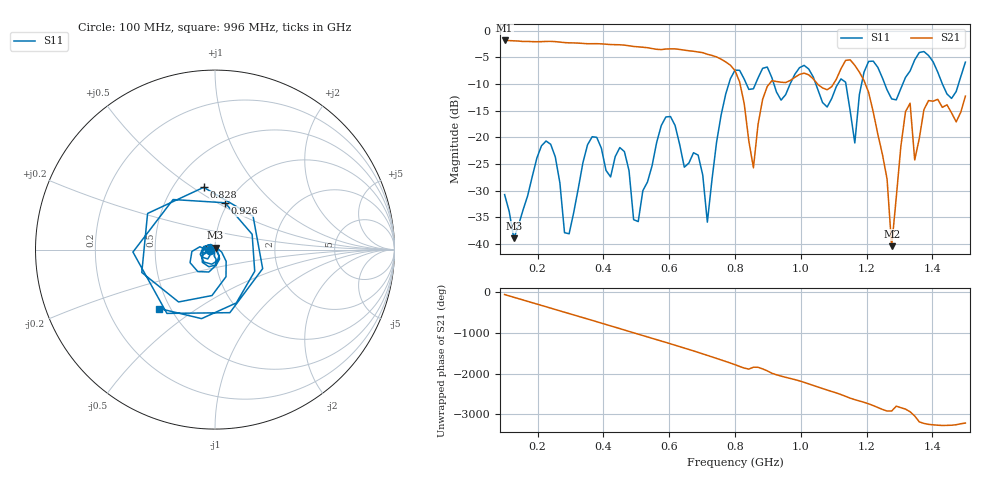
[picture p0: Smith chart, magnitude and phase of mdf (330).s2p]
! NanoVNA-App
! Date: 2025-09-25 15:40:59
! Start: 100MHz Stop: 1,5GHz Points: 101
! S-Parameter data: F S11 S21 S12 S22
# Hz S RI R 50
!  Frequency  S11_Real  S11_Imag  S21_Real  S21_Imag  S12_Real  S12_Imag  S22_Real  S22_Imag
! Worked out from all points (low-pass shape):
!   101 points, 100 MHz to 1.5 GHz, reference 50 ohm
!   highest |S21| = -1.80 dB at 100 MHz (marker M1); lowest = -40.4 dB at 1.276 GHz (marker M2)
!   |S21| within 3 dB of the highest: start of sweep to 739.3 MHz
!   lowest |S11| = -39.0 dB at 128 MHz (marker M3), VSWR 1.02, Z = 50.3 + j1.08 ohm
!   |S11| at or under -10 dB: start of sweep to 781 MHz; 1.046 GHz to 1.112 GHz (66.69 MHz wide, 6.18 % of centre); 1.255 GHz to 1.31 GHz (54.33 MHz wide, 4.24 % of centre) (the widest 3 of 7)
!   S12 and S22 are empty: the file has one direction only
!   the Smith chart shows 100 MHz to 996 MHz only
!   S11 on the Smith chart (normalised r, x): 100 MHz: 0.94, -0.01; 828 MHz: 0.70, +0.55; 926 MHz: 0.97, +0.54; 996 MHz: 0.44, -0.36
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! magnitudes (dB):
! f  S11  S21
! 100 MHz  -30.7  -1.8
! 128 MHz  -39.0  -1.9
! 212 MHz  -21.6  -2.0
! 282 MHz  -37.9  -2.2
! 338 MHz  -24.7  -2.4
! 464 MHz  -22.7  -2.7
! 506 MHz  -35.8  -3.0
! 576 MHz  -17.8  -3.5
! 688 MHz  -23.3  -4.0
! 716 MHz  -35.9  -4.4
! 800 MHz  -7.4  -7.5
! 828 MHz  -9.1  -13.7
! 856 MHz  -10.9  -25.7
! 926 MHz  -11.5  -9.5
! 996 MHz  -6.9  -8.2
! 1.038 GHz  -8.7  -9.0
! 1.164 GHz  -21.0  -6.5
! 1.192 GHz  -7.7  -9.3
! 1.276 GHz  -12.8  -40.4
! 1.318 GHz  -8.7  -15.2
! 1.346 GHz  -5.5  -24.2
! 1.5 GHz  -5.9  -12.3
